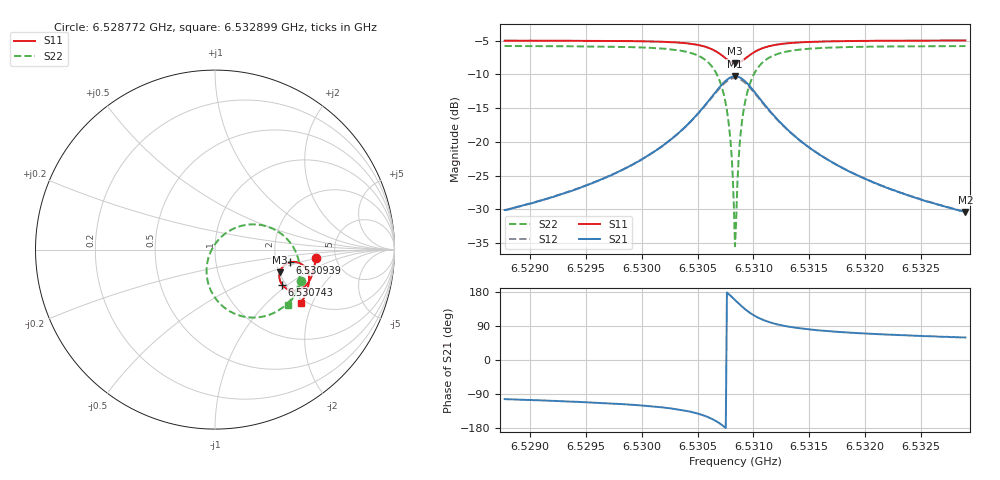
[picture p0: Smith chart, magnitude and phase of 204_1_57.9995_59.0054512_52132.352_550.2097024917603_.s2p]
#  HZ  S  RI  R  50.00
! Rohde & Schwarz Vector Network Analyzer
! Rohde-Schwarz,ZNB20-2Port,1311601062101988,3.16
! Created: UTC 3/21/2024, 12:59:21 AM
! freq[Hz]  re:S11  im:S11  re:S21  im:S21  re:S12  im:S12  re:S22  im:S22
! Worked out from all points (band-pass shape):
!   401 points, 6.528772 GHz to 6.532899 GHz, reference 50 ohm
!   highest |S21| = -10.28 dB at 6.530836 GHz (marker M1); lowest = -30.4 dB at 6.532899 GHz (marker M2)
!   |S21| within 3 dB of the highest: 6.53063 GHz to 6.531043 GHz (413.1 kHz wide, 0.00633 % of centre)
!   lowest |S11| = -8.3 dB at 6.530836 GHz (marker M3), VSWR 2.24, Z = 101 - j29.7 ohm
!   |S11| at or under -10 dB: nowhere
!   |S22| runs from -35.5 to -5.8 dB; largest |S21 - S12| = 0.012
!   S11 on the Smith chart (normalised r, x): 6.528772 GHz: 3.49, -0.51; 6.530743 GHz: 1.91, -0.91; 6.530939 GHz: 2.37, -0.41; 6.532899 GHz: 1.91, -1.66
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6.5287723e9  0.5603 -0.0495  -0.00713 -0.0304  -0.00772 -0.0301  0.4817 -0.1773
6.5294635e9  0.5511 -0.1074  -0.0166 -0.0432  -0.0176 -0.0427  0.4499 -0.2408
6.5301547e9  0.5242 -0.1766  -0.0502 -0.0739  -0.0523 -0.0725  0.3673 -0.3296
6.5303919e9  0.4978 -0.207  -0.0898 -0.0935  -0.0927 -0.0902  0.2862 -0.3685
6.5305673e9  0.4544 -0.227  -0.1578 -0.0999  -0.1603 -0.0934  0.1605 -0.3733
6.5306704e9  0.4094 -0.2224  -0.2273 -0.0736  -0.2266 -0.0639  0.0439 -0.3164
6.5307427e9  0.3741 -0.1955  -0.2785 -0.0151  -0.2727 -0.00505  -0.0312 -0.2082
6.5307839e9  0.3608 -0.1678  -0.2945 0.0376  -0.2854 0.046  -0.0471 -0.1174
6.5308046e9  0.3584 -0.1514  -0.2951 0.0676  -0.2849 0.0744  -0.0421 -0.0683
6.5308252e9  0.3593 -0.1345  -0.2897 0.098  -0.2788 0.1028  -0.0273 -0.0196
6.5308355e9  0.3611 -0.126  -0.2847 0.1129  -0.2736 0.1165  -0.0165 0.00354
6.5308458e9  0.364 -0.1179  -0.2782 0.127  -0.2672 0.1299  -0.00325 0.0256
6.5308561e9  0.3677 -0.1101  -0.2705 0.1406  -0.2596 0.1424  0.0121 0.0461
6.5308768e9  0.3771 -0.0962  -0.2516 0.1647  -0.2412 0.1647  0.0476 0.0818
6.5308871e9  0.3828 -0.0902  -0.2407 0.1749  -0.2309 0.1742  0.0673 0.0964
6.5309077e9  0.3953 -0.0804  -0.2171 0.1915  -0.2084 0.1896  0.1089 0.1193
6.5309387e9  0.4155 -0.0713  -0.1805 0.2071  -0.1735 0.2039  0.1727 0.1376
6.5310109e9  0.4586 -0.0706  -0.1053 0.209  -0.1017 0.2062  0.299 0.126
6.531114e9  0.4964 -0.0924  -0.0404 0.1783  -0.0387 0.1765  0.4028 0.0578
6.5315267e9  0.524 -0.1716  0.0154 0.0862  0.0165 0.0859  0.473 -0.1348
6.5322178e9  0.5067 -0.2432  0.0176 0.0414  0.0184 0.041  0.4434 -0.2507
6.5328987e9  0.4813 -0.2949  0.0153 0.026  0.016 0.0257  0.4081 -0.3105
